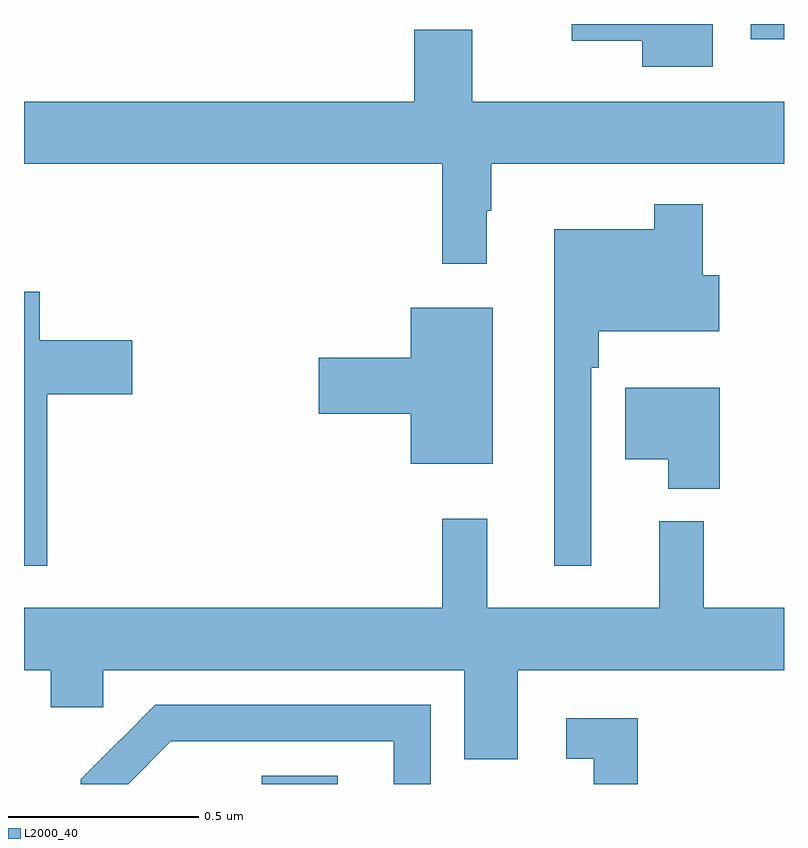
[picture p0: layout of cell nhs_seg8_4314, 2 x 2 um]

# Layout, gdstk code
import gdstk
lib = gdstk.Library(unit=1e-6, precision=1e-09)
def R(c, l, rs):  # rectangles x0, y0, x1, y1
    for r in rs: c.add(gdstk.rectangle(r[:2], r[2:], *l))
def P(c, l, *ps):  # polygons
    for p in ps: c.add(gdstk.Polygon(p, *l))
L2000_40 = (2000, 40)

nhs_seg8_4314 = lib.new_cell('nhs_seg8_4314')
R(nhs_seg8_4314, L2000_40, [(169.626,1082.9,169.825,1082.922), (170.912,1084.86,171,1084.9)])
P(nhs_seg8_4314, L2000_40, [(170.812,1084.9),(170.442,1084.9),(170.442,1084.856),(170.627,1084.856),(170.627,1084.787),(170.812,1084.787)],
  [(170.218,1084.409),(170.23,1084.409),(170.23,1084.532),(171,1084.532),(171,1084.696),(170.179,1084.696),(170.179,1084.885),(170.027,1084.885),(170.027,1084.696),(169,1084.696),(169,1084.532),(170.101,1084.532),(170.101,1084.269),(170.218,1084.269)],
  [(170.493,1083.995),(170.513,1083.995),(170.513,1084.091),(170.83,1084.091),(170.83,1084.239),(170.786,1084.239),(170.786,1084.426),(170.658,1084.426),(170.658,1084.36),(170.396,1084.36),(170.396,1083.474),(170.493,1083.474)],
  [(169.061,1083.926),(169.285,1083.926),(169.285,1084.068),(169.042,1084.068),(169.042,1084.195),(169,1084.195),(169,1083.474),(169.061,1083.474)],
  [(170.233,1084.153),(170.018,1084.153),(170.018,1084.022),(169.776,1084.022),(169.776,1083.875),(170.018,1083.875),(170.018,1083.743),(170.233,1083.743)],
  [(170.831,1083.943),(170.582,1083.943),(170.582,1083.755),(170.696,1083.755),(170.696,1083.677),(170.831,1083.677)],
  [(170.299,1083.2),(171,1083.2),(171,1083.364),(170.789,1083.364),(170.789,1083.592),(170.672,1083.592),(170.672,1083.364),(170.219,1083.364),(170.219,1083.598),(170.101,1083.598),(170.101,1083.364),(169,1083.364),(169,1083.2),(169.07,1083.2),(169.07,1083.102),(169.209,1083.102),(169.209,1083.2),(170.159,1083.2),(170.159,1082.965),(170.299,1082.965)],
  [(169.386,1083.012),(169.973,1083.012),(169.973,1082.9),(170.07,1082.9),(170.07,1083.108),(169.346,1083.108),(169.255,1083.017),(169.254,1083.018),(169.149,1082.913),(169.149,1082.9),(169.274,1082.9)],
  [(170.615,1083.073),(170.427,1083.073),(170.427,1082.967),(170.499,1082.967),(170.499,1082.9),(170.615,1082.9)])

lib.write_gds('nhs_seg8_4314.gds')
